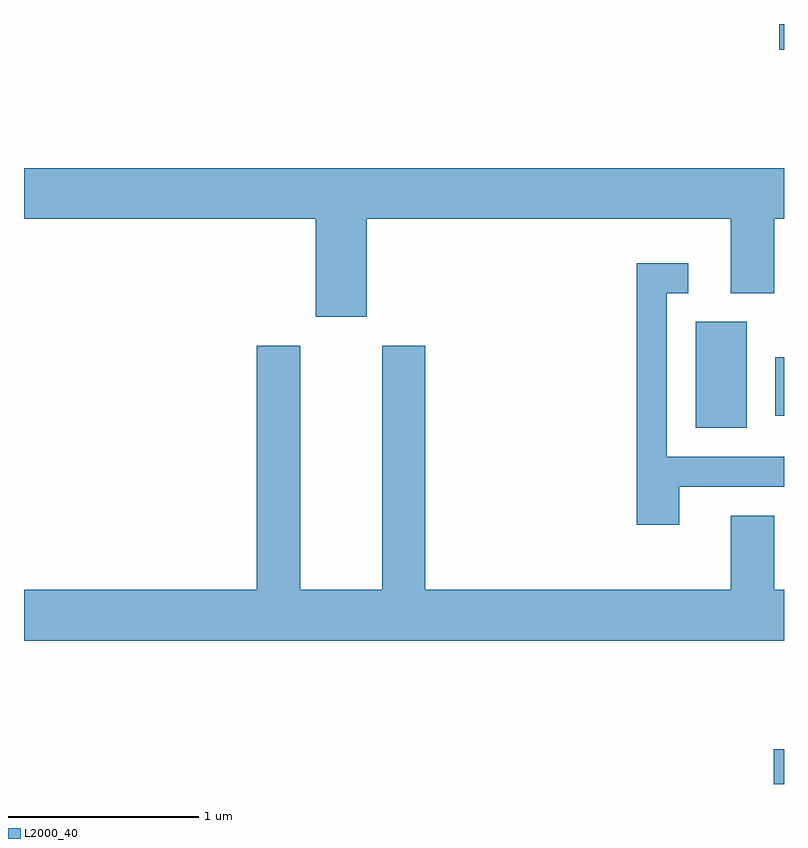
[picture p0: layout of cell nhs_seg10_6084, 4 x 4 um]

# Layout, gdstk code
import gdstk
lib = gdstk.Library(unit=1e-6, precision=1e-09)
def R(c, l, rs):  # rectangles x0, y0, x1, y1
    for r in rs: c.add(gdstk.rectangle(r[:2], r[2:], *l))
def P(c, l, *ps):  # polygons
    for p in ps: c.add(gdstk.Polygon(p, *l))
L2000_40 = (2000, 40)

nhs_seg10_6084 = lib.new_cell('nhs_seg10_6084')
R(nhs_seg10_6084, L2000_40, [(369.556,2086.522,369.611,2086.704), (369.146,2088.396,369.414,2088.954), (369.566,2088.461,369.611,2088.769), (369.586,2090.386,369.611,2090.522)])
P(nhs_seg10_6084, L2000_40, [(367.414,2089.496),(369.331,2089.496),(369.331,2089.106),(369.559,2089.106),(369.559,2089.496),(369.611,2089.496),(369.611,2089.764),(365.611,2089.764),(365.611,2089.496),(367.146,2089.496),(367.146,2088.981),(367.414,2088.981)],
  [(369.059,2088.086),(369.611,2088.086),(369.611,2088.244),(368.994,2088.244),(368.994,2089.106),(369.108,2089.106),(369.108,2089.264),(368.836,2089.264),(368.836,2087.886),(369.059,2087.886)],
  [(369.611,2087.544),(369.559,2087.544),(369.559,2087.934),(369.331,2087.934),(369.331,2087.544),(367.724,2087.544),(367.724,2088.829),(367.496,2088.829),(367.496,2087.544),(367.064,2087.544),(367.064,2088.829),(366.836,2088.829),(366.836,2087.544),(365.611,2087.544),(365.611,2087.276),(369.611,2087.276)])

lib.write_gds('nhs_seg10_6084.gds')
